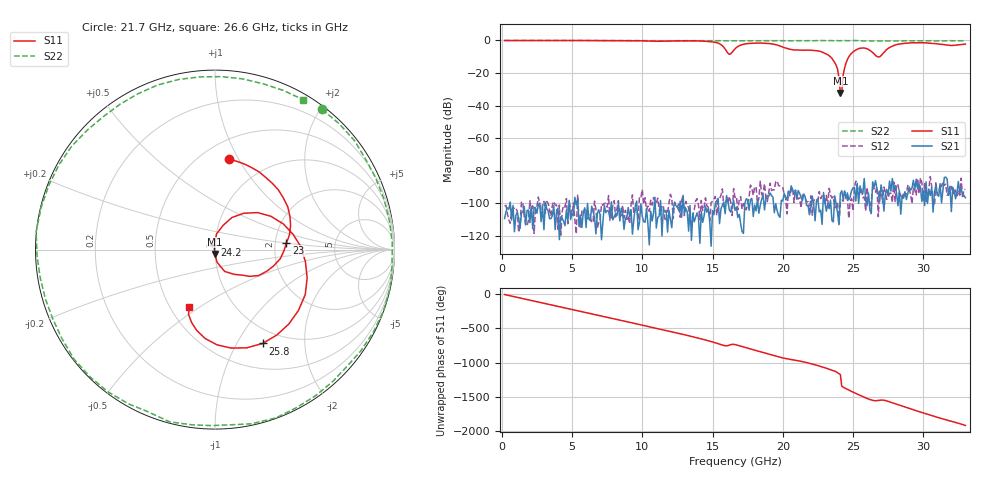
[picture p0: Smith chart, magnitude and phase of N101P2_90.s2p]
# GHZ S RI R 50
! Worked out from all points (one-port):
!   329 points, 200 MHz to 33 GHz, reference 50 ohm
!   lowest |S11| = -32.3 dB at 24.1 GHz (marker M1), VSWR 1.05, Z = 49.8 - j2.41 ohm
!   |S11| at or under -10 dB: 23.39 GHz to 24.7 GHz (1.316 GHz wide, 5.47 % of centre); 26.76065 GHz to 26.88084 GHz (120.2 MHz wide, 0.448 % of centre)
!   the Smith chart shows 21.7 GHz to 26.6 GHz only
!   S11 on the Smith chart (normalised r, x): 21.7 GHz: 0.67, +0.91; 23 GHz: 2.31, +0.20; 24.2 GHz: 0.99, +0.05; 25.8 GHz: 0.81, -1.29; 26.6 GHz: 0.62, -0.45
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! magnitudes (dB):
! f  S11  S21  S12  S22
! 200 MHz  0.0  -109.3  -101.7  0.0
! 5.7 GHz  0.0  -114.9  -104.8  -0.1
! 11.2 GHz  -0.5  -107.9  -103.5  -0.2
! 15.2 GHz  -1.1  -100.0  -95.8  -0.1
! 16.2 GHz  -8.5  -104.2  -95.8  -0.2
! 16.6 GHz  -5.1  -104.3  -96.5  -0.2
! 18.5 GHz  -1.6  -97.5  -94.7  -0.1
! 21.7 GHz  -5.8  -101.4  -99.2  -0.1
! 22.1 GHz  -6.1  -95.6  -107.3  -0.2
! 23 GHz  -8.0  -99.3  -101.0  -0.2
! 23.8 GHz  -15.2  -100.7  -102.0  -0.1
! 24 GHz  -22.8  -113.1  -113.7  -0.2
! 24.1 GHz  -32.3  -94.1  -98.9  -0.1
! 24.2 GHz  -31.2  -92.3  -98.0  -0.1
! 24.3 GHz  -21.1  -97.5  -98.8  -0.1
! 24.7 GHz  -10.0  -97.9  -109.3  -0.1
! 25.8 GHz  -4.6  -84.8  -96.1  -0.3
! 26.6 GHz  -9.1  -86.1  -93.2  -0.3
! 26.9 GHz  -10.0  -98.9  -91.8  -0.3
! 27.6 GHz  -4.3  -86.4  -93.9  -0.3
! 29.1 GHz  -1.4  -92.0  -94.4  -0.2
! 33 GHz  -2.2  -96.6  -91.5  -0.2
